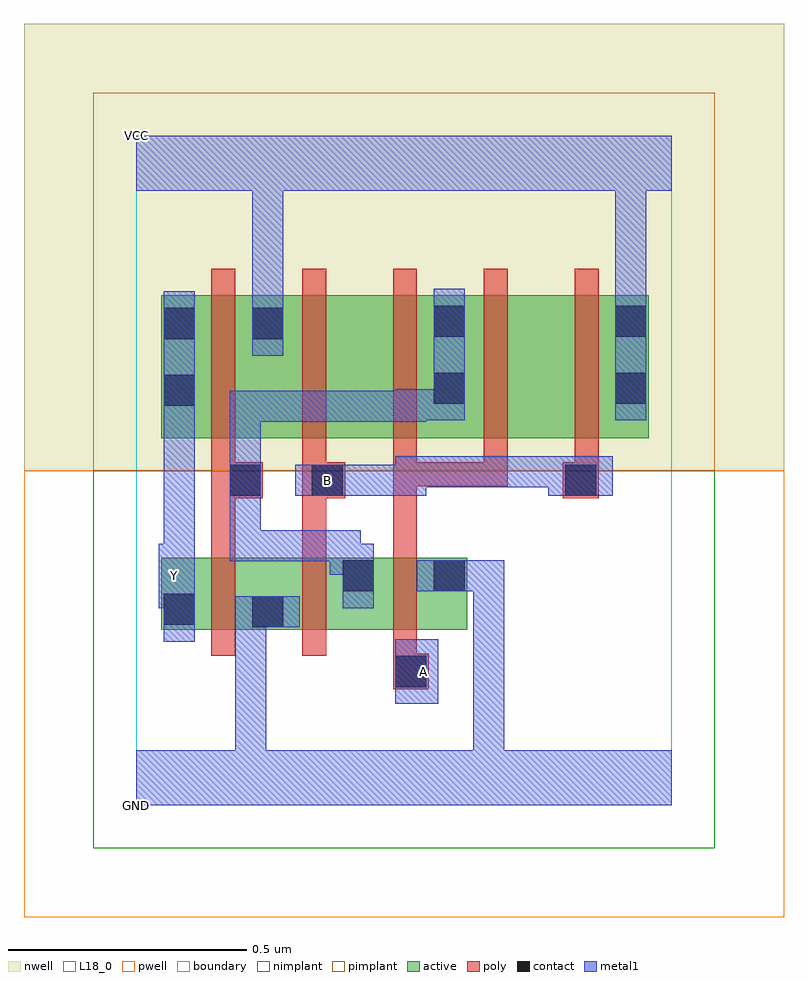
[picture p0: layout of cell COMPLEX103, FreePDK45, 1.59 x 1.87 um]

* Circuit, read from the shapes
.subckt COMPLEX103 A B GND VCC Y
M1 GND n1 Y VSUBS nfet w=0.15u l=0.05u
M2 n1 B GND VSUBS nfet w=0.15u l=0.05u
M3 GND A n1 VSUBS nfet w=0.15u l=0.05u
M4 VCC n1 Y n2 pfet w=0.3u l=0.05u
M5 n3 B VCC n2 pfet w=0.3u l=0.05u
M6 n1 A n3 n2 pfet w=0.3u l=0.05u
M7 n4 A n1 n2 pfet w=0.3u l=0.05u
M8 VCC B n4 n2 pfet w=0.3u l=0.05u
.ends

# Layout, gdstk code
import gdstk
lib = gdstk.Library(unit=1e-6, precision=1e-09)
def R(c, l, rs):  # rectangles x0, y0, x1, y1
    for r in rs: c.add(gdstk.rectangle(r[:2], r[2:], *l))
def A(c, l, x, y, w, h, nx, ny, dx, dy):  # array of equal rectangles
    R(c, l, [(x+i*dx, y+j*dy, x+i*dx+w, y+j*dy+h) for i in range(nx) for j in range(ny)])
active = (1, 0)
pwell = (2, 0)
nwell = (3, 0)
nimplant = (4, 0)
pimplant = (5, 0)
poly = (9, 0)
contact = (10, 0)
metal1 = (11, 0)
L18_0 = (18, 0)
boundary = (235, 0)

complex103 = lib.new_cell('COMPLEX103')
R(complex103, active, [(0.052,0.367,0.312,0.517), (0.052,0.367,0.127,0.517), (0.237,0.367,0.312,0.442), (0.237,0.367,0.502,0.517), (0.427,0.367,0.692,0.517), (0.427,0.442,0.502,0.517), (0.617,0.442,0.692,0.517), (0.052,0.767,0.127,1.067), (0.052,0.767,0.312,1.067), (0.237,0.767,0.467,1.067), (0.467,0.767,0.692,1.067), (0.617,0.767,0.847,1.067), (0.847,0.767,1.072,1.067), (0.997,0.767,1.072,1.067), (0.617,0.835,0.692,1.067), (0.237,0.952,0.312,1.067)])
R(complex103, pwell, [(-0.235,-0.235,1.355,0.7)])
R(complex103, nwell, [(-0.235,0.7,1.355,1.635)])
R(complex103, nimplant, [(-0.09,-0.09,1.21,0.7)])
R(complex103, pimplant, [(-0.09,0.7,1.21,1.49)])
A(complex103, poly, 0.157, 0.312, 0.05, 0.26, 3, 1, 0.19, 0)
A(complex103, poly, 0.157, 0.667, 0.05, 0.095, 5, 1, 0.19, 0)
A(complex103, poly, 0.157, 0.712, 0.05, 0.41, 5, 1, 0.19, 0)
R(complex103, poly, [(0.537,0.242,0.612,0.317), (0.537,0.267,0.587,0.362), (0.157,0.522,0.207,0.692), (0.347,0.522,0.397,0.692), (0.537,0.522,0.587,0.717), (0.157,0.642,0.265,0.717), (0.347,0.642,0.437,0.717), (0.892,0.642,0.967,0.717), (0.537,0.667,0.587,0.717), (0.537,0.667,0.777,0.717), (0.727,0.667,0.777,0.717), (0.727,0.667,0.777,0.717), (0.727,0.667,0.777,0.717)])
R(complex103, contact, [(0.542,0.247,0.607,0.312), (0.242,0.372,0.307,0.437), (0.057,0.377,0.122,0.442), (0.432,0.447,0.497,0.512), (0.622,0.447,0.687,0.512), (0.195,0.647,0.26,0.712), (0.367,0.647,0.432,0.712), (0.897,0.647,0.962,0.712), (0.057,0.835,0.122,0.9), (0.622,0.84,0.687,0.905), (1.002,0.84,1.067,0.905), (0.057,0.975,0.122,1.04), (0.242,0.975,0.307,1.04), (0.622,0.98,0.687,1.045), (1.002,0.98,1.067,1.045)])
R(complex103, metal1, [(0,0,1.12,0.115), (0.207,0.05,0.272,0.115), (0.207,0.05,0.272,0.115), (0.207,0.05,0.272,0.115), (0.207,0.05,0.272,0.115), (0.207,0.05,0.272,0.437), (0.705,0.05,0.77,0.512), (0.542,0.212,0.632,0.347), (0.057,0.342,0.122,0.477), (0.207,0.372,0.272,0.437), (0.207,0.372,0.272,0.437), (0.207,0.372,0.342,0.437), (0.047,0.412,0.122,0.547), (0.057,0.412,0.122,0.477), (0.432,0.412,0.497,0.547), (0.587,0.447,0.77,0.512), (0.705,0.447,0.77,0.512), (0.705,0.447,0.77,0.512), (0.705,0.447,0.77,0.512), (0.705,0.447,0.77,0.512), (0.705,0.447,0.77,0.512), (0.705,0.447,0.77,0.512), (0.057,0.482,0.122,0.865), (0.405,0.482,0.497,0.547), (0.405,0.482,0.47,0.575), (0.195,0.51,0.26,0.575), (0.195,0.51,0.47,0.575), (0.195,0.51,0.26,0.747), (0.195,0.612,0.26,0.747), (0.332,0.647,0.467,0.712), (0.402,0.647,0.467,0.712), (0.402,0.647,0.467,0.712), (0.402,0.647,0.607,0.712), (0.542,0.647,0.607,0.712), (0.542,0.647,0.607,0.712), (0.542,0.647,0.607,0.73), (0.862,0.647,0.997,0.73), (0.542,0.665,0.79,0.73), (0.725,0.665,0.79,0.73), (0.725,0.665,0.79,0.73), (0.725,0.665,0.79,0.73), (0.725,0.665,0.927,0.73), (0.195,0.682,0.26,0.747), (0.195,0.682,0.26,0.747), (0.195,0.682,0.26,0.867), (0.057,0.8,0.122,1.075), (0.195,0.802,0.26,0.867), (0.195,0.802,0.47,0.867), (0.405,0.802,0.47,0.867), (0.405,0.802,0.47,0.867), (0.405,0.802,0.47,0.867), (0.405,0.802,0.607,0.867), (0.542,0.802,0.607,0.87), (0.542,0.805,0.687,0.87), (0.622,0.805,0.687,1.08), (1.002,0.805,1.067,1.08), (0.242,0.94,0.307,1.075), (0.242,1.01,0.307,1.35), (1.002,1.015,1.067,1.35), (0,1.285,1.12,1.4), (0.242,1.285,0.307,1.35), (0.242,1.285,0.307,1.35), (1.002,1.285,1.067,1.35), (1.002,1.285,1.067,1.35)])
R(complex103, L18_0, [(0,0,1.12,0.115), (0.207,0.05,0.272,0.115), (0.207,0.05,0.272,0.115), (0.207,0.05,0.272,0.115), (0.207,0.05,0.272,0.115), (0.207,0.05,0.272,0.437), (0.705,0.05,0.77,0.512), (0.542,0.212,0.632,0.347), (0.567,0.247,0.632,0.312), (0.057,0.342,0.122,0.477), (0.207,0.372,0.272,0.437), (0.207,0.372,0.272,0.437), (0.207,0.372,0.342,0.437), (0.047,0.412,0.122,0.547), (0.057,0.412,0.122,0.477), (0.047,0.447,0.112,0.512), (0.587,0.447,0.77,0.512), (0.705,0.447,0.77,0.512), (0.705,0.447,0.77,0.512), (0.705,0.447,0.77,0.512), (0.705,0.447,0.77,0.512), (0.705,0.447,0.77,0.512), (0.705,0.447,0.77,0.512), (0.057,0.482,0.122,0.865), (0.332,0.647,0.467,0.712), (0.367,0.647,0.432,0.712), (0.402,0.647,0.467,0.712), (0.402,0.647,0.467,0.712), (0.402,0.647,0.607,0.712), (0.542,0.647,0.607,0.712), (0.542,0.647,0.607,0.712), (0.542,0.647,0.607,0.73), (0.862,0.647,0.997,0.73), (0.542,0.665,0.79,0.73), (0.725,0.665,0.79,0.73), (0.725,0.665,0.79,0.73), (0.725,0.665,0.79,0.73), (0.725,0.665,0.927,0.73), (0.057,0.8,0.122,1.075), (1.002,0.805,1.067,1.08), (0.242,0.94,0.307,1.075), (0.242,1.01,0.307,1.35), (1.002,1.015,1.067,1.35), (0,1.285,1.12,1.4), (0.242,1.285,0.307,1.35), (0.242,1.285,0.307,1.35), (1.002,1.285,1.067,1.35), (1.002,1.285,1.067,1.35)])
R(complex103, boundary, [(0,0,1.12,1.4)])
complex103.add(gdstk.Label('A', (0.6,0.28), layer=11, texttype=0))
complex103.add(gdstk.Label('B', (0.4,0.68), layer=11, texttype=0))
complex103.add(gdstk.Label('Y', (0.08,0.48), layer=11, texttype=0))
complex103.add(gdstk.Label('VCC', (0,1.4), layer=11, texttype=0))
complex103.add(gdstk.Label('GND', (0,0), layer=11, texttype=0))

lib.write_gds('COMPLEX103.gds')
